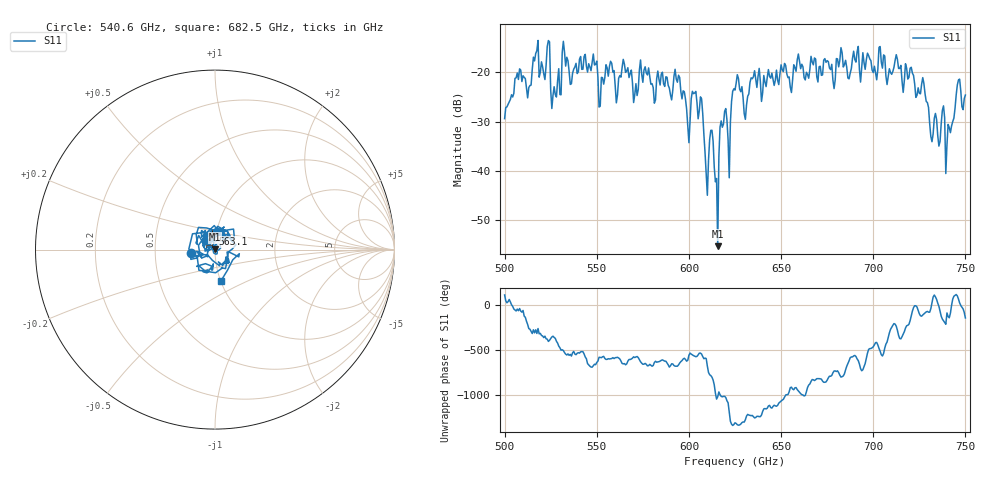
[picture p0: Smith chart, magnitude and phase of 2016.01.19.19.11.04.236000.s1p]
!Created with skrf (http://scikit-rf.org).
# GHz S RI R 50.0
!freq ReS11 ImS11
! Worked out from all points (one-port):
!   401 points, 500 GHz to 750 GHz, reference 50 ohm
!   lowest |S11| = -55.3 dB at 615.6 GHz (marker M1), VSWR 1.00, Z = 50.1 + j0.149 ohm
!   |S11| at or under -10 dB: start of sweep to end of sweep
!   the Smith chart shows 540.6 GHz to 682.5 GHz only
!   S11 on the Smith chart (normalised r, x): 540.6 GHz: 0.76, -0.03; 563.1 GHz: 0.96, +0.17; 682.5 GHz: 1.00, -0.36
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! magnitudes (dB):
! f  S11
! 500 GHz  -29.4
! 507.5 GHz  -21.4
! 513.1 GHz  -23.1
! 516.9 GHz  -16.1
! 523.8 GHz  -13.5
! 526.9 GHz  -22.9
! 531.2 GHz  -16.0
! 540.6 GHz  -17.3
! 562.5 GHz  -20.6
! 563.1 GHz  -21.0
! 593.8 GHz  -22.0
! 599.4 GHz  -31.0
! 606.2 GHz  -25.0
! 609.4 GHz  -40.5
! 612.5 GHz  -31.8
! 615.6 GHz  -55.3
! 618.1 GHz  -31.1
! 621.9 GHz  -41.4
! 625 GHz  -23.6
! 630.6 GHz  -29.5
! 635 GHz  -20.9
! 656.2 GHz  -21.5
! 682.5 GHz  -14.9
! 687.5 GHz  -20.1
! 718.8 GHz  -21.3
! 740.6 GHz  -30.6
! 746.2 GHz  -21.5
! 750 GHz  -24.6
